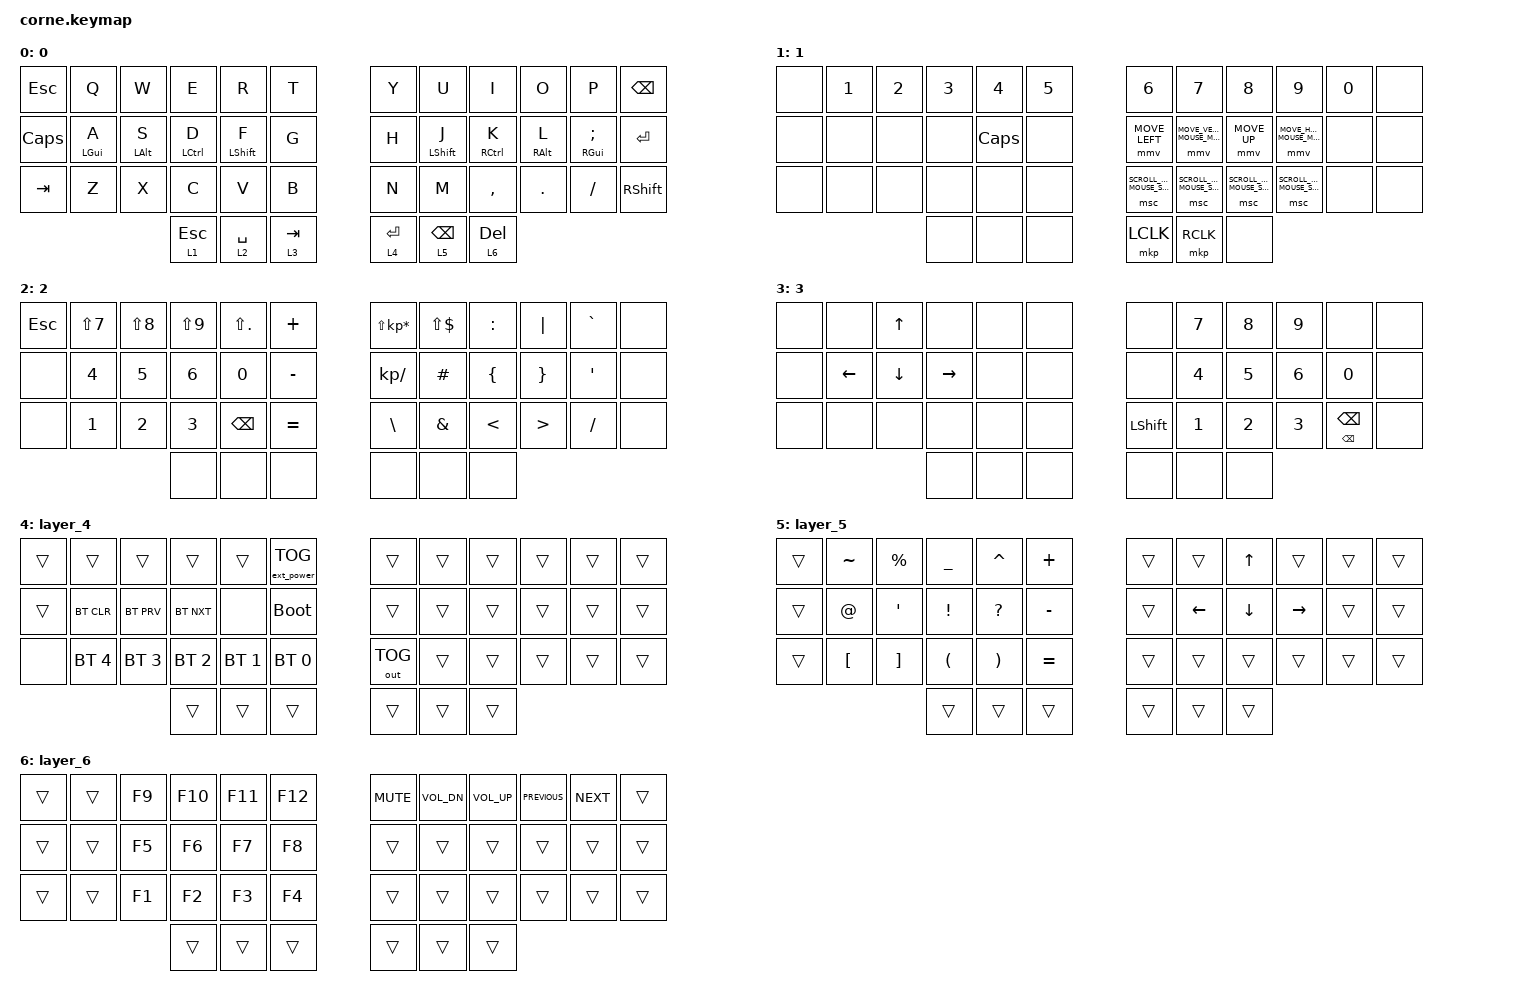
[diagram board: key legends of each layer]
/*
 * Copyright (c) 2020 The ZMK Contributors
 *
 * SPDX-License-Identifier: MIT
 */

#include <behaviors.dtsi>
#include <dt-bindings/zmk/bt.h>
#include <dt-bindings/zmk/ext_power.h>
#include <dt-bindings/zmk/keys.h>
#include <dt-bindings/zmk/keys.h>
#include <dt-bindings/zmk/mouse.h>
#include <dt-bindings/zmk/outputs.h>

#define DEFAULT_L 0
#define SYMBOLS_L 1
#define ARROWS_L  2
#define NUMBERS_L 3
#define U_MOUSE_SCROLL_MAX 20                    /* <--- New max speed setting (default: 10) */

#undef SCROLL_UP
#undef SCROLL_DOWN
#undef SCROLL_LEFT
#undef SCROLL_RIGHT

#define SCROLL_UP SCROLL_VERT(U_MOUSE_SCROLL_MAX)
#define SCROLL_DOWN SCROLL_VERT(-U_MOUSE_SCROLL_MAX)
#define SCROLL_LEFT SCROLL_HOR(-U_MOUSE_SCROLL_MAX)
#define SCROLL_RIGHT SCROLL_HOR(U_MOUSE_SCROLL_MAX)

&mwh {
    time-to-max-speed-ms = <500>;                 /* <--- How long time until max speed is reached */
};

#define U_MOUSE_MOVE_MAX 1400                     /* <--- New max speed setting (default: 600) */
#undef MOVE_UP
#undef MOVE_DOWN
#undef MOVE_LEFT
#undef MOVE_RIGHT
#define MOVE_UP MOVE_VERT(-U_MOUSE_MOVE_MAX)
#define MOVE_DOWN MOVE_VERT(U_MOUSE_MOVE_MAX)
#define MOVE_LEFT MOVE_HOR(-U_MOUSE_MOVE_MAX)
#define MOVE_RIGHT MOVE_HOR(U_MOUSE_MOVE_MAX)
&mmv {
	time-to-max-speed-ms = <400>;             /* <--- How long time until max speed is reached (default: 500) */
};
&caps_word {
  mods = <(MOD_LSFT | MOD_LALT)>;
};
/ {
    behaviors {
        hm: homerow_mods {
            compatible = "zmk,behavior-hold-tap";
            label = "HOMEROW_MODS";
            #binding-cells = <2>;
            tapping-term-ms = <200>;
            quick-tap-ms = <100>;
            flavor = "tap-preferred";
            bindings = <&kp>, <&kp>;
        };
    };

    /*
    combos {
        compatible = "zmk,combos";

        a {
            bindings = <&kp ESCAPE>;
            key-positions = <2 1>;
        };

        b {
            bindings = <&kp CLCK>;
            key-positions = <14 13>;
        };

        c {
            bindings = <&kp TAB>;
            key-positions = <26 25>;
        };

        d {
            bindings = <&kp BACKSPACE>;
            key-positions = <10 9>;
        };

        e {
            bindings = <&kp ENTER>;
            key-positions = <22 21>;
        };

        f {
            bindings = <&kp MINUS>;
            key-positions = <19 20>;
        };

        g {
            bindings = <&kp EQUAL>;
            key-positions = <21 20>;
        };

        h {
            bindings = <&sys_reset>;
            key-positions = <1 29>;
        };

        j {
            bindings = <&sys_reset>;
            key-positions = <30 10>;
        };
    };
*/

    keymap {
        compatible = "zmk,keymap";

        default_layer {
            label = "0";
            bindings = <
&kp ESC       &kp Q           &kp W           &kp E               &kp R         &kp T        &kp Y        &kp U            &kp I                &kp O            &kp P          &kp BSPC
&kp CAPSLOCK  &hm LEFT_GUI A  &hm LEFT_ALT S  &hm LEFT_CONTROL D  &hm LSHFT F   &kp G        &kp H        &hm LSHFT J      &hm RIGHT_CONTROL K  &hm RIGHT_ALT L  &hm RGUI SEMI  &kp RET
&kp TAB       &kp Z           &kp X           &kp C               &kp V         &kp B        &kp N        &kp M            &kp COMMA            &kp DOT          &kp FSLH       &kp RSHFT
                                              &lt 1 ESCAPE        &lt 2 SPACE   &lt 3 TAB    &lt 4 ENTER  &lt 5 BACKSPACE  &lt 6 DELETE
            >;
        };

        number_layer {
            label = "1";
            bindings = <
&none  &kp N1  &kp N2  &kp N3  &kp N4    &kp N5  &kp N6                                &kp N7                                 &kp N8                                &kp N9                               &kp N0  &none
&none  &none   &none   &none   &kp CAPS  &none   &mmv MOVE_LEFT                        &mmv MOVE_DOWN                         &mmv MOVE_UP                          &mmv MOVE_RIGHT                      &none   &none
&none  &none   &none   &none   &none     &none   &msc SCROLL_HOR(-U_MOUSE_SCROLL_MAX)  &msc SCROLL_VERT(-U_MOUSE_SCROLL_MAX)  &msc SCROLL_VERT(U_MOUSE_SCROLL_MAX)  &msc SCROLL_HOR(U_MOUSE_SCROLL_MAX)  &none   &none
                       &none   &none     &none   &mkp LCLK                             &mkp RCLK                              &none
            >;
        };

        bt_layer {
            label = "2";
            bindings = <
&kp ESC  &kp LS(NUMBER_7)  &kp LS(NUMBER_8)  &kp LS(NUMBER_9)  &kp LS(PERIOD)  &kp PLUS     &kp LS(KP_MULTIPLY)   &kp LS(DOLLAR)  &kp COLON       &kp PIPE          &kp GRAVE  &none
&none    &kp NUMBER_4      &kp NUMBER_5      &kp NUMBER_6      &kp N0          &kp MINUS    &kp KP_DIVIDE         &kp HASH        &kp LEFT_BRACE  &kp RIGHT_BRACE   &kp SQT        &none
&none    &kp NUMBER_1      &kp NUMBER_2      &kp NUMBER_3      &kp BACKSPACE   &kp EQUAL    &kp BACKSLASH         &kp AMPERSAND   &kp LESS_THAN   &kp GREATER_THAN  &kp SLASH      &none
                                             &none             &none           &none        &none                 &none           &none
            >;
        };

        arrow_layer {
            label = "3";
            bindings = <
&none  &none           &kp UP_ARROW    &none      &none  &none    &none       &kp NUMBER_7  &kp NUMBER_8  &kp NUMBER_9  &none                    &none
&none  &kp LEFT_ARROW  &kp DOWN_ARROW  &kp RIGHT  &none  &none    &none       &kp NUMBER_4  &kp NUMBER_5  &kp NUMBER_6  &kp NUMBER_0             &none
&none  &none           &none           &none      &none  &none    &kp LSHIFT  &kp NUMBER_1  &kp NUMBER_2  &kp NUMBER_3  &mt BACKSPACE BACKSPACE  &none
                                       &none      &none  &none    &none       &none         &none
            >;
        };

        layer_4 {
            bindings = <
&trans  &trans        &trans        &trans        &trans        &ext_power EP_TOG    &trans        &trans  &trans  &trans  &trans  &trans
&trans  &bt BT_CLR    &bt BT_PRV    &bt BT_NXT    &none         &bootloader          &trans        &trans  &trans  &trans  &trans  &trans
&none   &bt BT_SEL 4  &bt BT_SEL 3  &bt BT_SEL 2  &bt BT_SEL 1  &bt BT_SEL 0         &out OUT_TOG  &trans  &trans  &trans  &trans  &trans
                                    &trans        &trans        &trans               &trans        &trans  &trans
            >;
        };

        layer_5 {
            bindings = <
&trans  &kp TILDE         &kp PERCENT        &kp UNDERSCORE        &kp CARET              &kp PLUS     &trans  &trans          &kp UP_ARROW    &trans           &trans  &trans
&trans  &kp AT_SIGN       &kp SQT            &kp EXCLAMATION       &kp QUESTION           &kp MINUS    &trans  &kp LEFT_ARROW  &kp DOWN_ARROW  &kp RIGHT_ARROW  &trans  &trans
&trans  &kp LEFT_BRACKET  &kp RIGHT_BRACKET  &kp LEFT_PARENTHESIS  &kp RIGHT_PARENTHESIS  &kp EQUAL    &trans  &trans          &trans          &trans           &trans  &trans
                                             &trans                &trans                 &trans       &trans  &trans          &trans
            >;
        };

        layer_6 {
            bindings = <
&trans  &trans  &kp F9  &kp F10  &kp F11  &kp F12    &kp K_MUTE         &kp C_VOL_DN   &kp C_VOL_UP  &kp C_PREVIOUS  &kp C_NEXT  &trans
&trans  &trans  &kp F5  &kp F6   &kp F7   &kp F8     &trans             &trans              &trans           &trans  &trans  &trans
&trans  &trans  &kp F1  &kp F2   &kp F3   &kp F4     &trans             &trans              &trans           &trans  &trans  &trans
                        &trans   &trans   &trans     &trans             &trans              &trans
            >;
        };
    };
};
